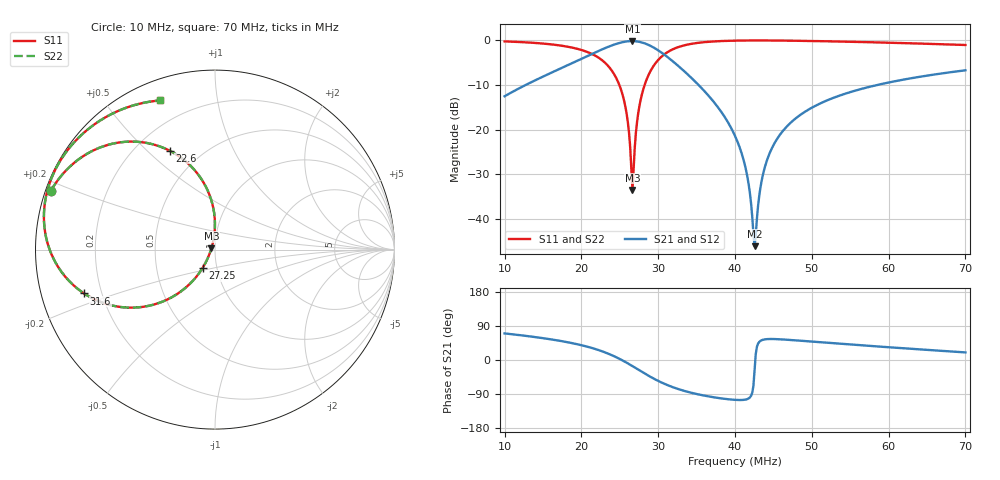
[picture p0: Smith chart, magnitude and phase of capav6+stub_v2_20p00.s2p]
! Touchstone file exported from HFSS 2025.2.0
!  File:  C:/Users/32474/OneDrive - UCL/Documents/Ingenieur/MASTER1/Stage/HFSS/capav6+stub.aedt
!  Generated:  07:34:00 PM Jul 17, 2026
!  Design:  HFSSDesign1
!  Project:  capav6+stub
!  Setup:  Setup4
!  Solution:  Sweep
# GHz S MA R 50.000000
! Terminal data exported
! Port[1] = capa_v2_20p001_1
! Port[2] = capa_v2_20p001_2
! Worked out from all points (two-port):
!   401 points, 10 MHz to 70 MHz, reference 50 ohm
!   highest |S21| = -0.19 dB at 26.65 MHz (marker M1); lowest = -46.0 dB at 42.55 MHz (marker M2)
!   |S21| within 3 dB of the highest: 21.21 MHz to 30.78 MHz (9.565 MHz wide, 36.8 % of centre)
!   lowest |S11| = -33.5 dB at 26.65 MHz (marker M3), VSWR 1.04, Z = 48 + j0.649 ohm
!   |S11| at or under -10 dB: 24.94 MHz to 28.23 MHz (3.296 MHz wide, 12.4 % of centre)
!   |S22| runs from -33.5 to 0.0 dB; largest |S21 - S12| = 1e-14
!   S11 on the Smith chart (normalised r, x): 10 MHz: 0.02, +0.17; 22.6 MHz: 0.34, +0.59; 27.25 MHz: 0.85, -0.18; 31.6 MHz: 0.13, -0.16; 70 MHz: 0.09, +0.69
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0.01  0.9713 160.3  0.2365 70.2  0.2365 70.2  0.9713 160.3
! Gamma 4.29697051666312E-05 0.209627589892663 4.3677466973427E-05 0.209628337336156
! Port Impedance 50 0 50 0
0.0157  0.9067 145.7  0.4187 55.5  0.4187 55.5  0.9067 145.7
0.02005  0.7767 129.3  0.6232 38.8  0.6232 38.8  0.7767 129.3
0.0226  0.6067 114.7  0.7844 23.6  0.7844 23.6  0.6067 114.6
0.0253  0.2563 93.4  0.9494 -0.5  0.9494 -0.5  0.2563 93.3
0.0259  0.1488 90.2  0.97 -7.2  0.97 -7.2  0.1488 90.1
0.02635  0.06405 96.0  0.9778 -12.5  0.9778 -12.5  0.06401 95.9
0.02665  0.02117 161.4  0.9789 -16.1  0.9789 -16.1  0.02103 161.4
0.02695  0.0637 -129.9  0.9763 -19.8  0.9763 -19.8  0.06365 -129.8
0.02725  0.123 -124.1  0.97 -23.5  0.97 -23.5  0.123 -124.0
0.0283  0.3293 -130.6  0.9197 -36.3  0.9197 -36.3  0.3292 -130.6
0.0301  0.6156 -148.7  0.7615 -56.2  0.7615 -56.2  0.6156 -148.7
0.0316  0.7697 -161.5  0.6109 -69.4  0.6109 -69.4  0.7696 -161.5
0.0349  0.9288 178.7  0.3396 -89.3  0.3396 -89.3  0.9288 178.7
0.04  0.9901 160.7  0.08534 -105.1  0.08534 -105.1  0.9901 160.6
0.0415  0.994 156.8  0.03332 -103.9  0.03332 -103.9  0.994 156.7
0.04255  0.9949 154.3  0.004985 -27.1  0.004985 -27.1  0.9949 154.2
0.0436  0.9949 151.9  0.03039 53.2  0.03039 53.2  0.9949 151.9
0.0448  0.9938 149.3  0.06199 55.4  0.06199 55.4  0.9938 149.3
0.05005  0.981 139.5  0.1771 48.5  0.1771 48.5  0.981 139.5
0.0601  0.9388 123.9  0.3384 33.5  0.3384 33.5  0.9388 123.9
0.07  0.8854 110.2  0.4615 20.0  0.4615 20.0  0.8854 110.2
